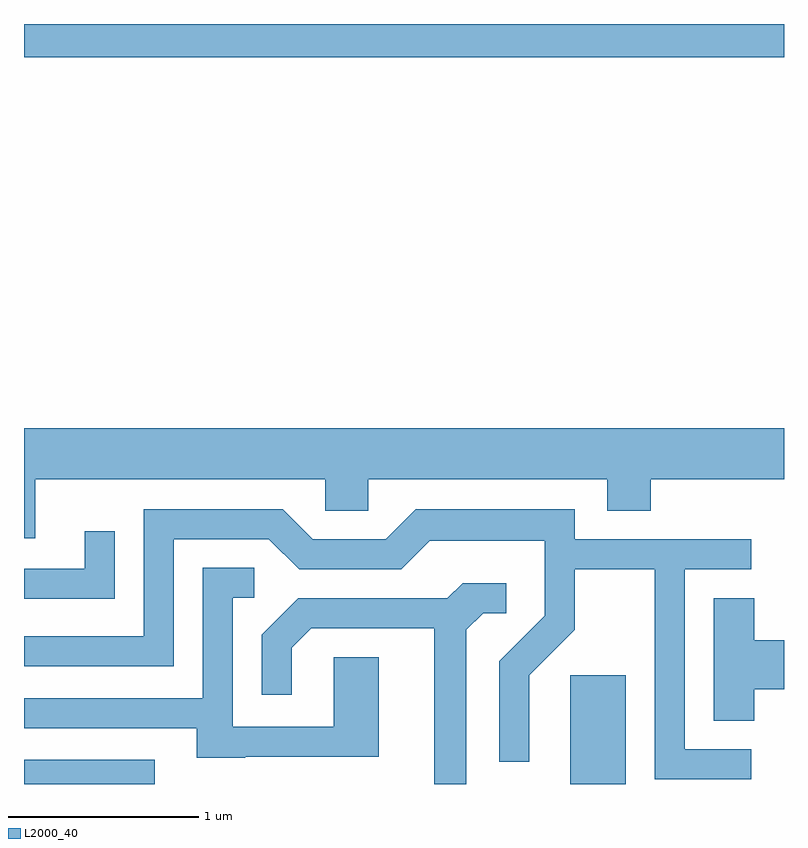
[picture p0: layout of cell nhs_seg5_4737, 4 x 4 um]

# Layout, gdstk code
import gdstk
lib = gdstk.Library(unit=1e-6, precision=1e-09)
def R(c, l, rs):  # rectangles x0, y0, x1, y1
    for r in rs: c.add(gdstk.rectangle(r[:2], r[2:], *l))
def P(c, l, *ps):  # polygons
    for p in ps: c.add(gdstk.Polygon(p, *l))
L2000_40 = (2000, 40)

nhs_seg5_4737 = lib.new_cell('nhs_seg5_4737')
R(nhs_seg5_4737, L2000_40, [(325.611,1464.072,326.299,1464.199), (328.486,1464.072,328.779,1464.644), (325.611,1467.896,329.611,1468.072)])
P(nhs_seg5_4737, L2000_40, [(325.669,1465.676),(327.196,1465.676),(327.196,1465.511),(327.424,1465.511),(327.424,1465.676),(328.681,1465.676),(328.681,1465.511),(328.909,1465.511),(328.909,1465.676),(329.611,1465.676),(329.611,1465.944),(325.611,1465.944),(325.611,1465.366),(325.669,1465.366)],
  [(329.438,1464.254),(329.089,1464.254),(329.089,1465.201),(329.438,1465.201),(329.438,1465.359),(328.509,1465.359),(328.509,1465.519),(327.674,1465.519),(327.514,1465.359),(327.132,1465.359),(326.972,1465.519),(326.241,1465.519),(326.241,1464.849),(325.611,1464.849),(325.611,1464.691),(326.399,1464.691),(326.399,1465.361),(326.899,1465.361),(327.059,1465.201),(327.597,1465.201),(327.747,1465.351),(328.351,1465.351),(328.351,1464.957),(328.111,1464.717),(328.111,1464.188),(328.269,1464.188),(328.269,1464.644),(328.509,1464.884),(328.509,1465.201),(328.931,1465.201),(328.931,1464.096),(329.438,1464.096)],
  [(326.089,1465.403),(325.931,1465.403),(325.931,1465.204),(325.611,1465.204),(325.611,1465.046),(326.089,1465.046)],
  [(326.775,1464.216),(327.479,1464.216),(327.479,1464.739),(327.241,1464.739),(327.241,1464.374),(326.709,1464.374),(326.709,1465.051),(326.823,1465.051),(326.823,1465.209),(326.551,1465.209),(326.551,1464.524),(325.611,1464.524),(325.611,1464.366),(326.521,1464.366),(326.521,1464.211),(326.775,1464.211)],
  [(327.939,1464.884),(328.027,1464.971),(328.148,1464.971),(328.148,1465.129),(327.919,1465.129),(327.839,1465.049),(327.054,1465.049),(326.861,1464.857),(326.861,1464.543),(327.019,1464.543),(327.019,1464.789),(327.122,1464.891),(327.771,1464.891),(327.771,1464.072),(327.939,1464.072)],
  [(329.454,1464.571),(329.611,1464.571),(329.611,1464.829),(329.454,1464.829),(329.454,1465.049),(329.241,1465.049),(329.241,1464.406),(329.454,1464.406)])

lib.write_gds('nhs_seg5_4737.gds')
